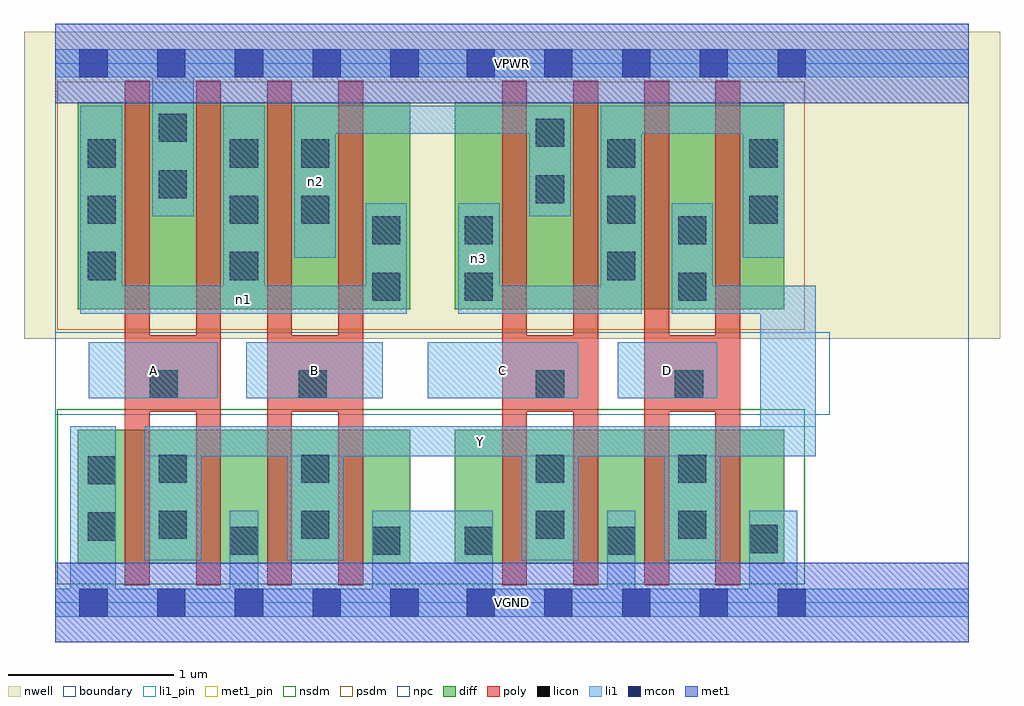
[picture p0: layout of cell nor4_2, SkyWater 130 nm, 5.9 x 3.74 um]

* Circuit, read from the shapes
.subckt nor4_2 A B C D VGND VPWR Y n1 n2 n3
XM1 Y A VGND VSUBS sky130_fd_pr__nfet_01v8 w=0.81 l=0.15 m=2
XM2 Y B VGND VSUBS sky130_fd_pr__nfet_01v8 w=0.81 l=0.15 m=2
XM3 Y C VGND VSUBS sky130_fd_pr__nfet_01v8 w=0.81 l=0.15 m=2
XM4 Y D VGND VSUBS sky130_fd_pr__nfet_01v8 w=0.81 l=0.15 m=2
XM5 VPWR A n1 n4 sky130_fd_pr__pfet_01v8 w=1.25 l=0.15 m=2
XM6 n2 B n1 n4 sky130_fd_pr__pfet_01v8 w=1.25 l=0.15 m=2
XM7 n2 C n3 n4 sky130_fd_pr__pfet_01v8 w=1.25 l=0.15 m=2
XM8 Y D n3 n4 sky130_fd_pr__pfet_01v8 w=1.25 l=0.15 m=2
.ends

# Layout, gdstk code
import gdstk
lib = gdstk.Library(unit=1e-6, precision=1e-09)
def R(c, l, rs):  # rectangles x0, y0, x1, y1
    for r in rs: c.add(gdstk.rectangle(r[:2], r[2:], *l))
def A(c, l, x, y, w, h, nx, ny, dx, dy):  # array of equal rectangles
    R(c, l, [(x+i*dx, y+j*dy, x+i*dx+w, y+j*dy+h) for i in range(nx) for j in range(ny)])
nwell = (64, 20)
diff = (65, 20)
poly = (66, 20)
licon = (66, 44)
li1_pin = (67, 16)
li1 = (67, 20)
mcon = (67, 44)
met1_pin = (68, 16)
met1 = (68, 20)
nsdm = (93, 44)
psdm = (94, 20)
npc = (95, 20)
boundary = (235, 4)

nor4_2 = lib.new_cell('nor4_2')
R(nor4_2, nwell, [(-0.19,1.595,5.71,3.45), (0,1.595,5.52,3.45)])
R(nor4_2, diff, [(0.135,0.235,2.145,1.045), (2.415,0.235,4.405,1.045), (0.135,1.775,2.145,3.025), (2.415,1.775,4.405,3.025)])
A(nor4_2, poly, 0.42, 0.105, 0.15, 3.05, 4, 1, 0.43, 0)
A(nor4_2, poly, 2.7, 0.105, 0.15, 3.05, 4, 1, 0.43, 0)
R(nor4_2, poly, [(0.42,1.155,1,1.615), (1.28,1.155,1.86,1.615), (2.7,1.155,3.28,1.615), (3.56,1.155,4.14,1.615)])
A(nor4_2, licon, 0.195, 1.95, 0.17, 0.17, 1, 3, 0, 0.34)
A(nor4_2, licon, 1.055, 1.95, 0.17, 0.17, 1, 3, 0, 0.34)
A(nor4_2, licon, 3.335, 1.95, 0.17, 0.17, 1, 3, 0, 0.34)
R(nor4_2, licon, [(1.055,0.29,1.225,0.46), (1.915,0.29,2.085,0.46), (2.475,0.29,2.645,0.46), (3.335,0.29,3.505,0.46), (4.195,0.3,4.365,0.47), (0.195,0.375,0.365,0.545), (0.625,0.385,0.795,0.555), (1.485,0.385,1.655,0.555), (2.905,0.385,3.075,0.555), (3.765,0.385,3.935,0.555), (0.195,0.715,0.365,0.885), (0.625,0.725,0.795,0.895), (1.485,0.725,1.655,0.895), (2.905,0.725,3.075,0.895), (3.765,0.725,3.935,0.895), (0.57,1.235,0.74,1.405), (1.47,1.235,1.64,1.405), (2.905,1.235,3.075,1.405), (3.745,1.235,3.915,1.405), (1.915,1.825,2.085,1.995), (2.475,1.825,2.645,1.995), (3.765,1.825,3.935,1.995), (1.915,2.165,2.085,2.335), (2.475,2.165,2.645,2.335), (3.765,2.165,3.935,2.335), (1.485,2.29,1.655,2.46), (4.195,2.29,4.365,2.46), (2.905,2.415,3.075,2.585), (0.625,2.445,0.795,2.615), (1.485,2.63,1.655,2.8), (4.195,2.63,4.365,2.8), (2.905,2.755,3.075,2.925), (0.625,2.785,0.795,2.955)])
R(nor4_2, li1_pin, [(0.54,0.885,4.595,1.065), (0.2,1.235,0.98,1.575), (1.155,1.235,1.98,1.575), (2.25,1.235,3.16,1.575), (3.4,1.235,4,1.575)])
R(nor4_2, li1, [(0,-0.085,5.52,0.085), (0.09,-0.085,0.365,1.065), (1.055,-0.085,1.225,0.555), (1.915,-0.085,2.645,0.555), (3.335,-0.085,3.505,0.555), (4.195,-0.085,4.485,0.555), (0.54,0.255,0.88,1.065), (1.4,0.255,1.74,1.065), (2.82,0.255,3.16,1.065), (3.68,0.255,4.02,1.065), (0.54,0.885,4.595,1.065), (4.26,0.885,4.595,1.915), (0.2,1.235,0.98,1.575), (1.155,1.235,1.98,1.575), (2.25,1.235,3.16,1.575), (3.4,1.235,4,1.575), (0.15,1.745,2.125,1.915), (0.15,1.745,0.405,3.005), (1.015,1.745,1.265,3.005), (1.875,1.745,2.125,2.415), (2.435,1.745,2.685,2.415), (2.435,1.745,3.545,1.915), (3.295,1.745,3.545,3.005), (3.725,1.745,3.975,2.415), (3.725,1.745,4.595,1.915), (1.445,2.085,1.695,3.005), (4.155,2.085,4.405,3.005), (0.585,2.335,0.835,3.345), (2.865,2.335,3.115,3.005), (1.445,2.835,3.115,3.005), (3.295,2.835,4.405,3.005), (0,3.175,5.52,3.345)])
A(nor4_2, mcon, 0.145, -0.085, 0.17, 0.17, 5, 2, 0.47, 3.26)
A(nor4_2, mcon, 2.485, -0.085, 0.17, 0.17, 5, 2, 0.47, 3.26)
R(nor4_2, met1_pin, [(0,-0.24,5.52,0.24), (0,3.02,5.52,3.5)])
R(nor4_2, met1, [(0,-0.24,5.52,0.24), (0,3.02,5.52,3.5)])
R(nor4_2, nsdm, [(0.01,0.11,4.53,1.17)])
R(nor4_2, psdm, [(0.01,1.65,4.53,3.15)])
R(nor4_2, npc, [(0,1.135,4.68,1.635)])
R(nor4_2, boundary, [(0,0,5.52,3.26)])
nor4_2.add(gdstk.Label('A', (0.59,1.405), layer=67, texttype=5))
nor4_2.add(gdstk.Label('B', (1.567,1.405), layer=67, texttype=5))
nor4_2.add(gdstk.Label('C', (2.705,1.405), layer=67, texttype=5))
nor4_2.add(gdstk.Label('D', (3.7,1.405), layer=67, texttype=5))
nor4_2.add(gdstk.Label('Y', (2.567,0.975), layer=67, texttype=5))
nor4_2.add(gdstk.Label('n1', (1.137,1.83), layer=67, texttype=5))
nor4_2.add(gdstk.Label('n2', (1.57,2.545), layer=67, texttype=5))
nor4_2.add(gdstk.Label('n3', (2.56,2.08), layer=67, texttype=5))
nor4_2.add(gdstk.Label('VPWR', (2.76,3.26), layer=68, texttype=5))
nor4_2.add(gdstk.Label('VGND', (2.76,0), layer=68, texttype=5))
nor4_2.add(gdstk.Label('A', (0.59,1.405), layer=67, texttype=16))
nor4_2.add(gdstk.Label('B', (1.567,1.405), layer=67, texttype=16))
nor4_2.add(gdstk.Label('C', (2.705,1.405), layer=67, texttype=16))
nor4_2.add(gdstk.Label('D', (3.7,1.405), layer=67, texttype=16))
nor4_2.add(gdstk.Label('Y', (2.567,0.975), layer=67, texttype=16))
nor4_2.add(gdstk.Label('VPWR', (2.76,3.26), layer=68, texttype=16))
nor4_2.add(gdstk.Label('VGND', (2.76,0), layer=68, texttype=16))

lib.write_gds('nor4_2.gds')
